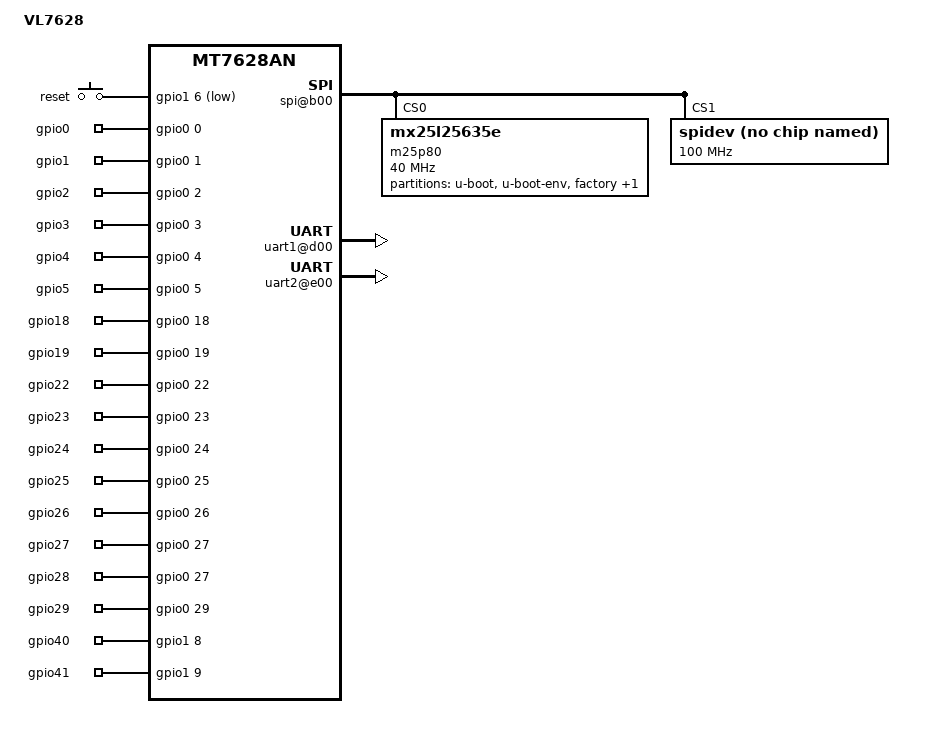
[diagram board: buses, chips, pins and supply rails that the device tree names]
/dts-v1/;

/include/ "mt7628an.dtsi"

/ {
	compatible = "mediatek,vl7628-board", "mediatek,mt7628an-soc";
	model = "VL7628";

	chosen {
		bootargs = "console=ttyS2,115200";
	};

	pinctrl {
		state_default: pinctrl0 {
		   gpio {
			   ralink,group = "gpio","i2s", "wdt", "refclk", "perst","wled_an","ephy_p1","ephy_p2","ephy_p3","ephy_p4","pwm0", "pwm1", "sdmode";
			   ralink,function = "gpio";
		   };
		};
	};

	palmbus@10000000 {
		spi@b00 {
			status = "okay";

			m25p80@0 {
				#address-cells = <1>;
				#size-cells = <1>;
				compatible = "mx25l25635e";
				reg = <0 0>;
				linux,modalias = "m25p80", "mx25l25635e";
				spi-max-frequency = <40000000>;
				m25p,chunked-io = <31>;

				partition@0 {
					label = "u-boot";
					reg = <0x0 0x30000>;
				};

				partition@30000 {
					label = "u-boot-env";
					reg = <0x30000 0x10000>;
				};

				factory: partition@40000 {
					label = "factory";
					reg = <0x40000 0x10000>;
					read-only;
				};

				partition@50000 {
					label = "firmware";
					reg = <0x50000 0x1fb0000>;
				};
			};


			spidev@1 {
				#address-cells = <1>;
				#size-cells = <1>;
				compatible = "spidev";
				reg = <1 0>;
				linux,modalias = "spidev", "spidev";
				spi-max-frequency = <100000000>;
			};
		};

		uart1@d00 {
			status = "okay";
		};

		uart2@e00 {
			status = "okay";
		};

	};

	ethernet@10100000 {
		mtd-mac-address = <&factory 0x28>;
	};


	gpio-keys-polled {
		compatible = "gpio-keys-polled";
		#address-cells = <1>;
		#size-cells = <0>;
		poll-interval = <20>;
		reset {
			label = "reset";
			gpios = <&gpio1 6 1>;
			linux,code = <0x198>;
		};
	};
/*
	gpio-leds {
		compatible = "gpio-leds";
		eth {
			label = "vl7628:orange:eth";
			gpios = <&gpio1 11 0>;
		};
	};
*/
	gpio-export {
		compatible = "gpio-export";
		#size-cells = <0>;

		gpio0 {
			/* i2s sdi */
			gpio-export,name = "gpio0";
			gpio-export,output = <1>;
			gpio-export,direction_may_change = <1>;
			gpios = <&gpio0 0 0>;
		};

		gpio1 {
			/* i2s sdo */
			gpio-export,name = "gpio1";
			gpio-export,output = <1>;
			gpio-export,direction_may_change = <1>;
			gpios = <&gpio0 1 0>;
		};
		gpio2 {
			/* i2s ws */
			gpio-export,name = "gpio2";
			gpio-export,output = <1>;
			gpio-export,direction_may_change = <1>;
			gpios = <&gpio0 2 0>;
		};
		gpio3 {
			/* i2s clk */
			gpio-export,name = "gpio3";
			gpio-export,output = <1>;
			gpio-export,direction_may_change = <1>;
			gpios = <&gpio0 3 0>;
		};
		gpio4 {
			/* i2c sclk */
			gpio-export,name = "gpio4";
			gpio-export,output = <0>;
			gpio-export,direction_may_change = <1>;
			gpios = <&gpio0 4 0>;
		};
		gpio5 {
			/* i2c sd */
			gpio-export,name = "gpio5";
			gpio-export,output = <0>;
			gpio-export,direction_may_change = <1>;
			gpios = <&gpio0 5 0>;
		};
		gpio18 {
			/* RP Port2 */
			gpio-export,name = "gpio18";
			gpio-export,output = <1>;
			gpio-export,direction_may_change = <1>;
			gpios = <&gpio0 18 0>;
		};
		gpio19 {
			/* RN Port2 */
			gpio-export,name = "gpio19";
			gpio-export,output = <1>;
			gpio-export,direction_may_change = <1>;
			gpios = <&gpio0 19 0>;
		};

		gpio22 {
			/* TP Port3 */
			gpio-export,name = "gpio22";
			gpio-export,output = <1>;
			gpio-export,direction_may_change = <1>;
			gpios = <&gpio0 22 0>;
		};
		gpio23 {
			/* TN Port3 */
			gpio-export,name = "gpio23";
			gpio-export,output = <1>;
			gpio-export,direction_may_change = <1>;
			gpios = <&gpio0 23 0>;
		};
		gpio24 {
			/* RP Port3 */
			gpio-export,name = "gpio24";
			gpio-export,output = <1>;
			gpio-export,direction_may_change = <1>;
			gpios = <&gpio0 24 0>;
		};
		gpio25 {
			/* RN Port3 */
			gpio-export,name = "gpio25";
			gpio-export,output = <1>;
			gpio-export,direction_may_change = <1>;
			gpios = <&gpio0 25 0>;
		};
		gpio26 {
			/* RP Port4 */
			gpio-export,name = "gpio26";
			gpio-export,output = <1>;
			gpio-export,direction_may_change = <1>;
			gpios = <&gpio0 26 0>;
		};

		gpio27 {
			/* RN Port4 */
			gpio-export,name = "gpio27";
			gpio-export,output = <1>;
			gpio-export,direction_may_change = <1>;
			gpios = <&gpio0 27 0>;
		};
		gpio28 {
			/* TP Port4 */
			gpio-export,name = "gpio28";
			gpio-export,output = <1>;
			gpio-export,direction_may_change = <1>;
			gpios = <&gpio0 27 0>;
		};
		gpio29 {
			/* TN Port4 */
			gpio-export,name = "gpio29";
			gpio-export,output = <1>;
			gpio-export,direction_may_change = <1>;
			gpios = <&gpio0 29 0>;
		};
		gpio40 {
			/* P3 led*/
			gpio-export,name = "gpio40";
			gpio-export,output = <1>;
			gpio-export,direction_may_change = <1>;
			gpios = <&gpio1 8 0>;
		};
		gpio41 {
			/* P2 led */
			gpio-export,name = "gpio41";
			gpio-export,output = <1>;
			gpio-export,direction_may_change = <1>;
			gpios = <&gpio1 9 0>;
		};
	};


};
